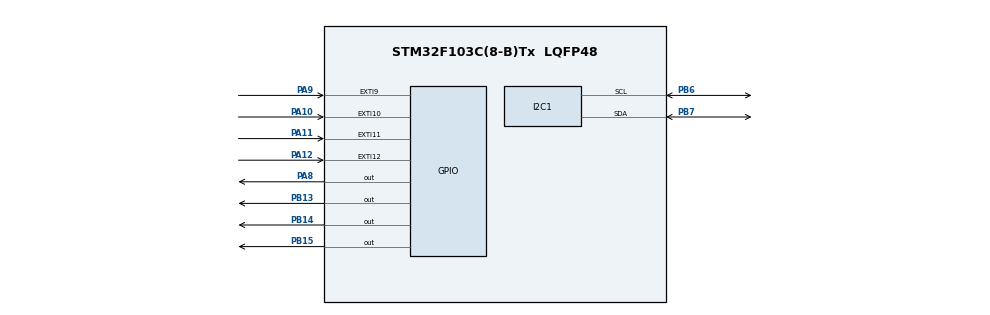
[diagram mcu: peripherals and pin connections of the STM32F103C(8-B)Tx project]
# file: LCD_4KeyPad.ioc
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Mcu.Family=STM32F1
Mcu.Name=STM32F103C(8-B)Tx
Mcu.Package=LQFP48
NVIC.EXTI15_10_IRQn=true\:0\:0\:false\:false\:true\:true\:true\:true
NVIC.EXTI9_5_IRQn=true\:0\:0\:false\:false\:true\:true\:true\:true
NVIC.PriorityGroup=NVIC_PRIORITYGROUP_4
PA10.Signal=GPXTI10
PA11.Signal=GPXTI11
PA12.Signal=GPXTI12
PA13.Mode=Serial_Wire
PA13.Signal=SYS_JTMS-SWDIO
PA14.Mode=Serial_Wire
PA14.Signal=SYS_JTCK-SWCLK
PA8.Signal=GPIO_Output
PA9.Signal=GPXTI9
PB13.Signal=GPIO_Output
PB14.Signal=GPIO_Output
PB15.Signal=GPIO_Output
PB6.Mode=I2C
PB6.Signal=I2C1_SCL
PB7.Mode=I2C
PB7.Signal=I2C1_SDA
ProjectManager.HeapSize=0x200
ProjectManager.StackSize=0x400
ProjectManager.TargetToolchain=MDK-ARM V5.32
RCC.APB1Freq_Value=8000000
RCC.APB2Freq_Value=8000000
board=custom

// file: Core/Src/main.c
/* USER CODE BEGIN Header */
/**
  ******************************************************************************
  * @file           : main.c
  * @brief          : Main program body (STM32F103C8T6 Blue Pill)
  ******************************************************************************
  * Notes:
  *  - 4x4 Keypad: Rows -> PB13, PB14, PB15, PA8 (outputs)
  *                 Cols  -> PA9,  PA10, PA11, PA12 (EXTI)
  *  - LCD: HD44780 over I2C1 via PCF8574 backpack (set correct I2C address in
  *          liquidcrystal_i2c.h, e.g. 0x27 or 0x3F, *left-shifted by 1*).
  ******************************************************************************
  */
/* USER CODE END Header */
#include "main.h"

/* USER CODE BEGIN Includes */
#include "stdio.h"
#include "string.h"
#include "liquidcrystal_i2c.h"
/* USER CODE END Includes */

/* USER CODE BEGIN PD */
// Debounce interval in ms
#define KEYPAD_DEBOUNCE_MS   10

// Convenience macros for row pins
#define ROW1_PORT GPIOB
#define ROW1_PIN  GPIO_PIN_13
#define ROW2_PORT GPIOB
#define ROW2_PIN  GPIO_PIN_14
#define ROW3_PORT GPIOB
#define ROW3_PIN  GPIO_PIN_15
#define ROW4_PORT GPIOA
#define ROW4_PIN  GPIO_PIN_8

// Column pins
#define COL_PORT  GPIOA
#define COL1_PIN  GPIO_PIN_9
#define COL2_PIN  GPIO_PIN_10
#define COL3_PIN  GPIO_PIN_11
#define COL4_PIN  GPIO_PIN_12
/* USER CODE END PD */

/* USER CODE BEGIN PM */
#define SET_ROW(r1,r2,r3,r4)                 \
  do {                                       \
    HAL_GPIO_WritePin(ROW1_PORT, ROW1_PIN, (r1)?GPIO_PIN_SET:GPIO_PIN_RESET); \
    HAL_GPIO_WritePin(ROW2_PORT, ROW2_PIN, (r2)?GPIO_PIN_SET:GPIO_PIN_RESET); \
    HAL_GPIO_WritePin(ROW3_PORT, ROW3_PIN, (r3)?GPIO_PIN_SET:GPIO_PIN_RESET); \
    HAL_GPIO_WritePin(ROW4_PORT, ROW4_PIN, (r4)?GPIO_PIN_SET:GPIO_PIN_RESET); \
  } while(0)
/* USER CODE END PM */

I2C_HandleTypeDef hi2c1;

/* USER CODE BEGIN PV */
GPIO_InitTypeDef GPIO_InitStructPrivate = {0};

volatile uint32_t previousMillis = 0;
volatile uint32_t currentMillis  = 0;
volatile uint8_t  keyPressed     = 0;   // ASCII of last key, 0 if none
/* USER CODE END PV */

void SystemClock_Config(void);
static void MX_GPIO_Init(void);
static void MX_I2C1_Init(void);
/* USER CODE BEGIN PFP */
static void LCD_ShowKey(uint8_t ascii);
/* USER CODE END PFP */

int main(void)
{

  /* MCU Configuration--------------------------------------------------------*/

  /* Reset of all peripherals, Initializes the Flash interface and the Systick. */
  HAL_Init();

  /* Configure the system clock */
  SystemClock_Config();

  /* Initialize all configured peripherals */
  MX_GPIO_Init();
  MX_I2C1_Init();
  /* USER CODE BEGIN 2 */
  // Initialize LCD (set correct address in liquidcrystal_i2c.h)
  // Many libs take rows; if your lib expects (cols, rows), change to (16,2).
  HD44780_Init(2);
  HD44780_Clear();
  HD44780_SetCursor(0,0);
  HD44780_PrintStr("Ready for input");
  HD44780_SetCursor(0,1);
  HD44780_PrintStr("Press a key...");

  // Idle state: drive all rows high (no key pressed sensed on pulled-down cols)
  SET_ROW(1,1,1,1);
  /* USER CODE END 2 */

  /* Infinite loop */
  /* USER CODE BEGIN WHILE */
  while (1)
  {
    // Just refresh display with the last pressed key
    LCD_ShowKey(keyPressed);
    HAL_Delay(200);
    /* USER CODE END WHILE */

  }
}

void SystemClock_Config(void)
{
  RCC_OscInitTypeDef RCC_OscInitStruct = {0};
  RCC_ClkInitTypeDef RCC_ClkInitStruct = {0};

  /** Initializes the RCC Oscillators according to the specified parameters
  * in the RCC_OscInitTypeDef structure.
  */
  RCC_OscInitStruct.OscillatorType = RCC_OSCILLATORTYPE_HSI;
  RCC_OscInitStruct.HSIState = RCC_HSI_ON;
  RCC_OscInitStruct.HSICalibrationValue = RCC_HSICALIBRATION_DEFAULT;
  RCC_OscInitStruct.PLL.PLLState = RCC_PLL_NONE;
  if (HAL_RCC_OscConfig(&RCC_OscInitStruct) != HAL_OK)
  {
    Error_Handler();
  }

  /** Initializes the CPU, AHB and APB buses clocks
  */
  RCC_ClkInitStruct.ClockType = RCC_CLOCKTYPE_HCLK|RCC_CLOCKTYPE_SYSCLK
                              |RCC_CLOCKTYPE_PCLK1|RCC_CLOCKTYPE_PCLK2;
  RCC_ClkInitStruct.SYSCLKSource = RCC_SYSCLKSOURCE_HSI;
  RCC_ClkInitStruct.AHBCLKDivider = RCC_SYSCLK_DIV1;
  RCC_ClkInitStruct.APB1CLKDivider = RCC_HCLK_DIV1;
  RCC_ClkInitStruct.APB2CLKDivider = RCC_HCLK_DIV1;

  if (HAL_RCC_ClockConfig(&RCC_ClkInitStruct, FLASH_LATENCY_0) != HAL_OK)
  {
    Error_Handler();
  }
}

static void MX_I2C1_Init(void)
{

  hi2c1.Instance = I2C1;
  hi2c1.Init.ClockSpeed = 100000;
  hi2c1.Init.DutyCycle = I2C_DUTYCYCLE_2;
  hi2c1.Init.OwnAddress1 = 0;
  hi2c1.Init.AddressingMode = I2C_ADDRESSINGMODE_7BIT;
  hi2c1.Init.DualAddressMode = I2C_DUALADDRESS_DISABLE;
  hi2c1.Init.OwnAddress2 = 0;
  hi2c1.Init.GeneralCallMode = I2C_GENERALCALL_DISABLE;
  hi2c1.Init.NoStretchMode = I2C_NOSTRETCH_DISABLE;
  if (HAL_I2C_Init(&hi2c1) != HAL_OK)
  {
    Error_Handler();
  }

}

static void MX_GPIO_Init(void)
{
  GPIO_InitTypeDef GPIO_InitStruct = {0};

  /* GPIO Ports Clock Enable */
  __HAL_RCC_GPIOB_CLK_ENABLE();
  __HAL_RCC_GPIOA_CLK_ENABLE();

  /*Configure GPIO pin Output Level */
  HAL_GPIO_WritePin(GPIOB, GPIO_PIN_13|GPIO_PIN_14|GPIO_PIN_15, GPIO_PIN_RESET);

  /*Configure GPIO pin Output Level */
  HAL_GPIO_WritePin(GPIOA, GPIO_PIN_8, GPIO_PIN_RESET);

  /*Configure GPIO pins : PB13 PB14 PB15 */
  GPIO_InitStruct.Pin = GPIO_PIN_13|GPIO_PIN_14|GPIO_PIN_15;
  GPIO_InitStruct.Mode = GPIO_MODE_OUTPUT_PP;
  GPIO_InitStruct.Pull = GPIO_NOPULL;
  GPIO_InitStruct.Speed = GPIO_SPEED_FREQ_LOW;
  HAL_GPIO_Init(GPIOB, &GPIO_InitStruct);

  /*Configure GPIO pin : PA8 */
  GPIO_InitStruct.Pin = GPIO_PIN_8;
  GPIO_InitStruct.Mode = GPIO_MODE_OUTPUT_PP;
  GPIO_InitStruct.Pull = GPIO_NOPULL;
  GPIO_InitStruct.Speed = GPIO_SPEED_FREQ_LOW;
  HAL_GPIO_Init(GPIOA, &GPIO_InitStruct);

  /*Configure GPIO pins : PA9 PA10 PA11 PA12 */
  GPIO_InitStruct.Pin = GPIO_PIN_9|GPIO_PIN_10|GPIO_PIN_11|GPIO_PIN_12;
  GPIO_InitStruct.Mode = GPIO_MODE_IT_RISING;
  GPIO_InitStruct.Pull = GPIO_NOPULL;
  HAL_GPIO_Init(GPIOA, &GPIO_InitStruct);

  /* EXTI interrupt init*/
  HAL_NVIC_SetPriority(EXTI9_5_IRQn, 0, 0);
  HAL_NVIC_EnableIRQ(EXTI9_5_IRQn);

  HAL_NVIC_SetPriority(EXTI15_10_IRQn, 0, 0);
  HAL_NVIC_EnableIRQ(EXTI15_10_IRQn);

}

/* USER CODE BEGIN 4 */
/**
 * Keypad scan in EXTI callback
 * Debounce using HAL_GetTick(). Do NOT use HAL_Delay() in interrupts.
 */
void HAL_GPIO_EXTI_Callback(uint16_t GPIO_Pin)
{
  (void)GPIO_Pin; // we will read all columns explicitly

  currentMillis = HAL_GetTick();
  if ((currentMillis - previousMillis) < KEYPAD_DEBOUNCE_MS) {
    return;
  }

  // Make columns plain inputs (keep pulldown so idle stays low)
  GPIO_InitStructPrivate.Pin  = COL1_PIN | COL2_PIN | COL3_PIN | COL4_PIN;
  GPIO_InitStructPrivate.Mode = GPIO_MODE_INPUT;
  GPIO_InitStructPrivate.Pull = GPIO_PULLDOWN;
  HAL_GPIO_Init(COL_PORT, &GPIO_InitStructPrivate);

  // Helper to settle signals a bit
  #define SETTLE() do { for (volatile int i=0;i<300;i++) __NOP(); } while (0)

  // Scan Row 1: set R1=1, others=0
  uint8_t found = 0;
  SET_ROW(1,0,0,0); SETTLE();
  if (HAL_GPIO_ReadPin(COL_PORT, COL1_PIN)) { keyPressed = 'D'; found=1; }
  else if (HAL_GPIO_ReadPin(COL_PORT, COL2_PIN)) { keyPressed = 'C'; found=1; }
  else if (HAL_GPIO_ReadPin(COL_PORT, COL3_PIN)) { keyPressed = 'B'; found=1; }
  else if (HAL_GPIO_ReadPin(COL_PORT, COL4_PIN)) { keyPressed = 'A'; found=1; }

  // Row 2
  if (!found) {
    SET_ROW(0,1,0,0); SETTLE();
    if (HAL_GPIO_ReadPin(COL_PORT, COL1_PIN)) { keyPressed = '#'; found=1; }
    else if (HAL_GPIO_ReadPin(COL_PORT, COL2_PIN)) { keyPressed = '9'; found=1; }
    else if (HAL_GPIO_ReadPin(COL_PORT, COL3_PIN)) { keyPressed = '6'; found=1; }
    else if (HAL_GPIO_ReadPin(COL_PORT, COL4_PIN)) { keyPressed = '3'; found=1; }
  }

  // Row 3
  if (!found) {
    SET_ROW(0,0,1,0); SETTLE();
    if (HAL_GPIO_ReadPin(COL_PORT, COL1_PIN)) { keyPressed = '0'; found=1; }
    else if (HAL_GPIO_ReadPin(COL_PORT, COL2_PIN)) { keyPressed = '8'; found=1; }
    else if (HAL_GPIO_ReadPin(COL_PORT, COL3_PIN)) { keyPressed = '5'; found=1; }
    else if (HAL_GPIO_ReadPin(COL_PORT, COL4_PIN)) { keyPressed = '2'; found=1; }
  }

  // Row 4
  if (!found) {
    SET_ROW(0,0,0,1); SETTLE();
    if (HAL_GPIO_ReadPin(COL_PORT, COL1_PIN)) { keyPressed = '*'; found=1; }
    else if (HAL_GPIO_ReadPin(COL_PORT, COL2_PIN)) { keyPressed = '7'; found=1; }
    else if (HAL_GPIO_ReadPin(COL_PORT, COL3_PIN)) { keyPressed = '4'; found=1; }
    else if (HAL_GPIO_ReadPin(COL_PORT, COL4_PIN)) { keyPressed = '1'; found=1; }
  }

  // Restore idle state: all rows high
  SET_ROW(1,1,1,1);

  // Restore EXTI mode with pulldowns
  GPIO_InitStructPrivate.Mode = GPIO_MODE_IT_RISING;
  GPIO_InitStructPrivate.Pull = GPIO_PULLDOWN;
  HAL_GPIO_Init(COL_PORT, &GPIO_InitStructPrivate);

  previousMillis = currentMillis;
}
/* USER CODE END 4 */

void Error_Handler(void)
{
  __disable_irq();
  while (1)
  {
  }
}
